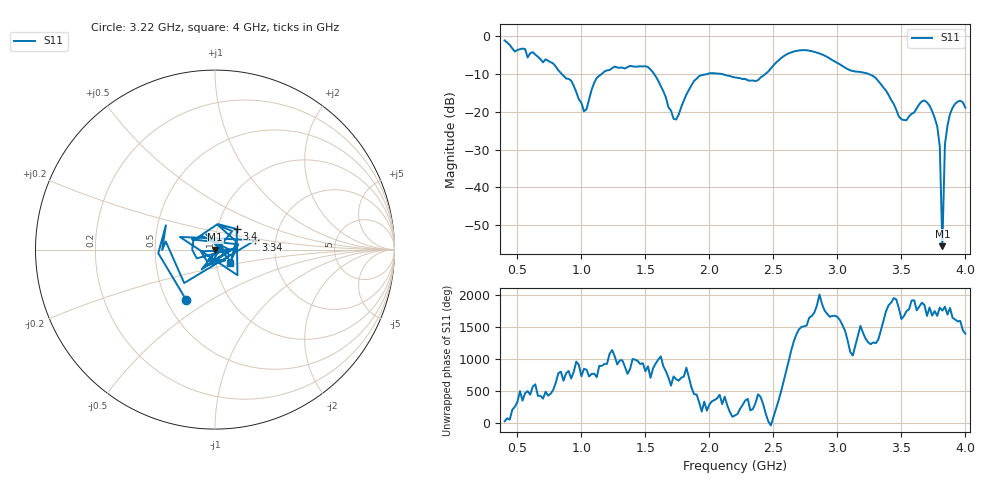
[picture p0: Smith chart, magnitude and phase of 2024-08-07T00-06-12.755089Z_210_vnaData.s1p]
!Created with skrf (http://scikit-rf.org).
# Hz S RI R 50.0
!freq ReS11 ImS11
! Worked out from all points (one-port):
!   181 points, 400 MHz to 4 GHz, reference 50 ohm
!   lowest |S11| = -55.5 dB at 3.82 GHz (marker M1), VSWR 1.00, Z = 50.1 - j0.111 ohm
!   |S11| at or under -10 dB: 1.567 GHz to 1.988 GHz (421.3 MHz wide, 23.7 % of centre); 2.087 GHz to 2.439 GHz (352.1 MHz wide, 15.6 % of centre); 3.241 GHz to end of sweep (the widest 3 of 4)
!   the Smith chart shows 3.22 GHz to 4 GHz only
!   S11 on the Smith chart (normalised r, x): 3.22 GHz: 0.63, -0.40; 3.34 GHz: 1.57, +0.17; 3.4 GHz: 1.24, +0.29; 4 GHz: 1.17, -0.18
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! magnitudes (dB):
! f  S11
! 400 MHz  -1.2
! 860 MHz  -10.5
! 920 MHz  -11.8
! 1.02 GHz  -19.9
! 1.12 GHz  -11.1
! 1.3 GHz  -8.4
! 1.52 GHz  -8.2
! 1.6 GHz  -11.8
! 1.72 GHz  -21.9
! 1.76 GHz  -20.8
! 1.92 GHz  -10.6
! 2.2 GHz  -11.0
! 2.38 GHz  -11.7
! 2.66 GHz  -4.1
! 3.1 GHz  -9.1
! 3.22 GHz  -9.8
! 3.34 GHz  -12.7
! 3.4 GHz  -15.6
! 3.5 GHz  -22.0
! 3.56 GHz  -21.2
! 3.68 GHz  -17.0
! 3.78 GHz  -23.9
! 3.8 GHz  -29.2
! 3.82 GHz  -55.5
! 3.84 GHz  -28.7
! 3.86 GHz  -23.7
! 3.92 GHz  -17.9
! 4 GHz  -19.0
